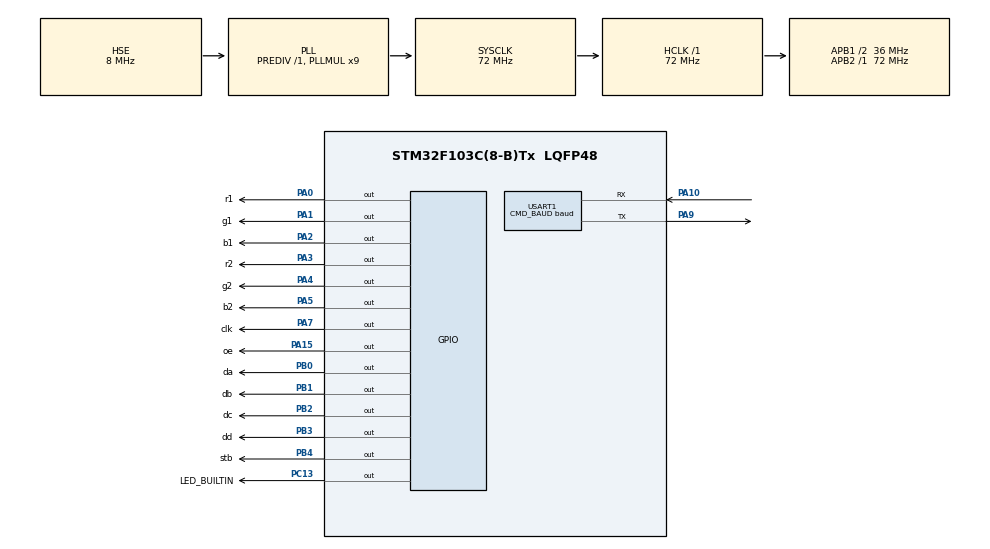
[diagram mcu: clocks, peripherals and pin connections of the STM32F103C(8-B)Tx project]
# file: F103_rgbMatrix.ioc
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Dma.Request0=TIM1_UP
Dma.TIM1_UP.0.Direction=DMA_MEMORY_TO_PERIPH
Dma.TIM1_UP.0.Instance=DMA1_Channel5
Dma.TIM1_UP.0.MemDataAlignment=DMA_MDATAALIGN_BYTE
Dma.TIM1_UP.0.MemInc=DMA_MINC_ENABLE
Dma.TIM1_UP.0.Mode=DMA_NORMAL
Dma.TIM1_UP.0.PeriphDataAlignment=DMA_PDATAALIGN_BYTE
Dma.TIM1_UP.0.PeriphInc=DMA_PINC_DISABLE
Dma.TIM1_UP.0.Priority=DMA_PRIORITY_HIGH
IWDG.Prescaler=IWDG_PRESCALER_64
IWDG.Reload=IWDG_1S
Mcu.Family=STM32F1
Mcu.Name=STM32F103C(8-B)Tx
Mcu.Package=LQFP48
Mcu.UserConstants=CLK_PSC,0;CLK_ARR,11;CLK_MAX_DUTY,(CLK_ARR + 1);OE_PSC,0;OE_ARR,17999;OE_MAX_DUTY,(OE_ARR + 1);IWDG_1S,625;CMD_BAUD,38400
NVIC.DMA1_Channel5_IRQn=true\:5\:0\:true\:false\:true\:false\:true
NVIC.PriorityGroup=NVIC_PRIORITYGROUP_4
NVIC.TIM2_IRQn=true\:6\:0\:true\:false\:true\:true\:true
NVIC.USART1_IRQn=true\:7\:0\:true\:false\:true\:true\:true
PA0-WKUP.GPIO_Label=r1
PA0-WKUP.GPIO_Speed=GPIO_SPEED_FREQ_HIGH
PA0-WKUP.Signal=GPIO_Output
PA1.GPIO_Label=g1
PA1.GPIO_Speed=GPIO_SPEED_FREQ_HIGH
PA1.Signal=GPIO_Output
PA10.Mode=Asynchronous
PA10.Signal=USART1_RX
PA13.Mode=Serial_Wire
PA13.Signal=SYS_JTMS-SWDIO
PA14.Mode=Serial_Wire
PA14.Signal=SYS_JTCK-SWCLK
PA15.GPIO_Label=oe
PA15.Signal=GPIO_Output
PA2.GPIO_Label=b1
PA2.GPIO_Speed=GPIO_SPEED_FREQ_HIGH
PA2.Signal=GPIO_Output
PA3.GPIO_Label=r2
PA3.GPIO_Speed=GPIO_SPEED_FREQ_HIGH
PA3.Signal=GPIO_Output
PA4.GPIO_Label=g2
PA4.GPIO_Speed=GPIO_SPEED_FREQ_HIGH
PA4.Signal=GPIO_Output
PA5.GPIO_Label=b2
PA5.GPIO_Speed=GPIO_SPEED_FREQ_HIGH
PA5.Signal=GPIO_Output
PA7.GPIO_Label=clk
PA7.GPIO_ModeDefaultOutputPP=GPIO_MODE_OUTPUT_PP
PA7.GPIO_PuPd=GPIO_NOPULL
PA7.GPIO_Speed=GPIO_SPEED_FREQ_HIGH
PA7.Signal=GPIO_Output
PA9.Mode=Asynchronous
PA9.Signal=USART1_TX
PB0.GPIO_Label=da
PB0.GPIO_Speed=GPIO_SPEED_FREQ_HIGH
PB0.Signal=GPIO_Output
PB1.GPIO_Label=db
PB1.GPIO_Speed=GPIO_SPEED_FREQ_HIGH
PB1.Signal=GPIO_Output
PB2.GPIO_Label=dc
PB2.GPIO_Speed=GPIO_SPEED_FREQ_HIGH
PB2.Signal=GPIO_Output
PB3.GPIO_Label=dd
PB3.GPIO_Speed=GPIO_SPEED_FREQ_HIGH
PB3.Signal=GPIO_Output
PB4.GPIO_Label=stb
PB4.GPIO_Speed=GPIO_SPEED_FREQ_HIGH
PB4.Signal=GPIO_Output
PC13-TAMPER-RTC.GPIO_Label=LED_BUILTIN
PC13-TAMPER-RTC.GPIO_Speed=GPIO_SPEED_FREQ_HIGH
PC13-TAMPER-RTC.PinState=GPIO_PIN_SET
PC13-TAMPER-RTC.Signal=GPIO_Output
PD0-OSC_IN.Mode=HSE-External-Oscillator
PD0-OSC_IN.Signal=RCC_OSC_IN
PD1-OSC_OUT.Mode=HSE-External-Oscillator
PD1-OSC_OUT.Signal=RCC_OSC_OUT
ProjectManager.HeapSize=0x200
ProjectManager.StackSize=0x400
ProjectManager.TargetToolchain=TrueSTUDIO
RCC.AHBFreq_Value=72000000
RCC.APB1CLKDivider=RCC_HCLK_DIV2
RCC.APB1Freq_Value=36000000
RCC.APB1TimFreq_Value=72000000
RCC.APB2Freq_Value=72000000
RCC.APB2TimFreq_Value=72000000
RCC.HCLKFreq_Value=72000000
RCC.PLLMUL=RCC_PLL_MUL9
RCC.PLLSourceVirtual=RCC_PLLSOURCE_HSE
RCC.SYSCLKFreq_VALUE=72000000
RCC.SYSCLKSource=RCC_SYSCLKSOURCE_PLLCLK
RCC.USBFreq_Value=48000000
RCC.USBPrescaler=RCC_USBCLKSOURCE_PLL_DIV1_5
TIM1.Period=CLK_ARR
TIM1.Prescaler=CLK_PSC
TIM2.Period=OE_ARR
TIM2.Prescaler=OE_PSC
TIM2.TIM_MasterOutputTrigger=TIM_TRGO_UPDATE
USART1.BaudRate=CMD_BAUD
USART1.Mode=MODE_RX
USART1.VirtualMode=VM_ASYNC
VP_IWDG_VS_IWDG.Mode=IWDG_Activate
VP_TIM1_VS_ClockSourceINT.Mode=Internal
VP_TIM2_VS_ClockSourceINT.Mode=Internal
board=custom

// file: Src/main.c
/**
 ******************************************************************************
 * @file           : main.c
 * @brief          : Main program body
 ******************************************************************************
 ** This notice applies to any and all portions of this file
 * that are not between comment pairs USER CODE BEGIN and
 * USER CODE END. Other portions of this file, whether
 * inserted by the user or by software development tools
 * are owned by their respective copyright owners.
 *
 * COPYRIGHT(c) 2019 STMicroelectronics
 *
 * Redistribution and use in source and binary forms, with or without modification,
 * are permitted provided that the following conditions are met:
 *   1. Redistributions of source code must retain the above copyright notice,
 *      this list of conditions and the following disclaimer.
 *   2. Redistributions in binary form must reproduce the above copyright notice,
 *      this list of conditions and the following disclaimer in the documentation
 *      and/or other materials provided with the distribution.
 *   3. Neither the name of STMicroelectronics nor the names of its contributors
 *      may be used to endorse or promote products derived from this software
 *      without specific prior written permission.
 *
 * THIS SOFTWARE IS PROVIDED BY THE COPYRIGHT HOLDERS AND CONTRIBUTORS "AS IS"
 * AND ANY EXPRESS OR IMPLIED WARRANTIES, INCLUDING, BUT NOT LIMITED TO, THE
 * IMPLIED WARRANTIES OF MERCHANTABILITY AND FITNESS FOR A PARTICULAR PURPOSE ARE
 * DISCLAIMED. IN NO EVENT SHALL THE COPYRIGHT HOLDER OR CONTRIBUTORS BE LIABLE
 * FOR ANY DIRECT, INDIRECT, INCIDENTAL, SPECIAL, EXEMPLARY, OR CONSEQUENTIAL
 * DAMAGES (INCLUDING, BUT NOT LIMITED TO, PROCUREMENT OF SUBSTITUTE GOODS OR
 * SERVICES; LOSS OF USE, DATA, OR PROFITS; OR BUSINESS INTERRUPTION) HOWEVER
 * CAUSED AND ON ANY THEORY OF LIABILITY, WHETHER IN CONTRACT, STRICT LIABILITY,
 * OR TORT (INCLUDING NEGLIGENCE OR OTHERWISE) ARISING IN ANY WAY OUT OF THE USE
 * OF THIS SOFTWARE, EVEN IF ADVISED OF THE POSSIBILITY OF SUCH DAMAGE.
 *
 ******************************************************************************
 */
#include "main.h"
#include "stm32f1xx_hal.h"

/* USER CODE BEGIN Includes */
#include "stm32f1xx_it.h"
#include <string.h>
#include <stdlib.h>
#include "config.h"
#include "matrix.h"
/* USER CODE END Includes */

IWDG_HandleTypeDef hiwdg;

TIM_HandleTypeDef htim1;
TIM_HandleTypeDef htim2;
DMA_HandleTypeDef hdma_tim1_up;

UART_HandleTypeDef huart1;

/* USER CODE BEGIN PV */
/* Private variables ---------------------------------------------------------*/
/* TODO */
#define DEBUG					0
#if DEBUG
#define RGB_PANEL_DEBUG			0
#endif	//if DEBUG

#define HW_VERSION				"v1.2.3"
#define SW_VERSION				"v1.5.2"
#define RUNNING_SPEED			25

#define UART_BUFSIZE			1024

#define CMD_CHAR_HEADER			'$'
#define CMD_CHAR_ENDLINE		'\n'
#define CMD_CHAR_SEPARATOR		','
#define CMD_CHAR_TERMINATOR		'*'

#define COMMAND_SHORT_BUFSIZE			16
#define COMMAND_LONG_BUFSIZE			128

typedef struct
{
	char buffer[UART_BUFSIZE];
	volatile uint16_t head;
	volatile uint16_t tail;
	uint16_t size;
} Ring_Buffer_t;

const char bangladesh_eng[COMMAND_SHORT_BUFSIZE] = "Bangladesh";
const char railways_eng[COMMAND_SHORT_BUFSIZE] = "Railway";  //updated 18Apr2019
const char bangladesh_bangla[COMMAND_SHORT_BUFSIZE] = { 18, 12, 64, 145, 12, 15, 129, 80 };  //updated edes 25des2018
const char railways_bangla[COMMAND_SHORT_BUFSIZE] = { 15, 19, 145, 75, 15, 53 };  //updated edes 25des2018

#if DISPLAY_OUTDOOR
const char to_in_bangla[COMMAND_SHORT_BUFSIZE] = { 11, 15, 58, 15, 107, 11 };  //updated edes 25des2018
const char to_in_eng[COMMAND_SHORT_BUFSIZE] = { ' ', 't', 'o', ' ' };
#endif	//if DISPLAY_OUTDOOR

#if DISPLAY_INDOOR
const char at_in_bangla[COMMAND_SHORT_BUFSIZE] =
{	15, 168, 80, 15, 38, 11};  //updated edes 31Okt2020
const char at_in_eng[COMMAND_SHORT_BUFSIZE] =
{	'A', 't', ' '};
const char to_in_bangla[COMMAND_SHORT_BUFSIZE] =
{	15, 58, 15, 107, 11};  //updated edes 25des2018
const char to_in_eng[COMMAND_SHORT_BUFSIZE] =
{	'T', 'o', ' '};
#endif	//if DISPLAY_INDOOR

//char uartBuffer[UART_BUFSIZE];
Ring_Buffer_t uartBuffer = { { 0 }, 0, 0, UART_BUFSIZE };
volatile ITStatus uart1RxReady = RESET;
volatile uint8_t swapBufferStart = 0;
volatile uint32_t activeFrameRowAddress = 0;
volatile uint32_t matrix_row = 0;
volatile uint32_t matrix_color = 0;
volatile FlagStatus buttonPress = RESET;
#if DEBUG
volatile uint32_t fps = 0;
#endif	//if DEBUG

uint32_t millis = 0;
const uint32_t DISCONNECTED_TIMEOUT = 10000;
const uint32_t DISCONNECTED_REFRESH_TIMEOUT = 5000;
const uint32_t DISPLAY_REFRESH_TIMEOUT = 30000;
int16_t xCoachLineEnd = 0;
int16_t xTrainIdLineEnd = 0;
const uint32_t ANIMATION_START_TIMEOUT = 1000;
const uint32_t ANIMATION_RUNNING_TIMEOUT = 35;

typedef enum
{
	STATION_ARRIVED = 0,
	STATION_TOWARD = 1,
	STATION_NEXT = 0,
	STATION_PREV = 1
} Station_State_e;

typedef struct
{
	char id[COMMAND_SHORT_BUFSIZE];
	char name[COMMAND_LONG_BUFSIZE];
} Train_Info_t;
typedef struct
{
	char name[COMMAND_LONG_BUFSIZE];
	Station_State_e state;
	char first[COMMAND_LONG_BUFSIZE];
	char end[COMMAND_LONG_BUFSIZE];
} Station_Info_t;

char textRecv[COMMAND_SHORT_BUFSIZE];

/**
 * @brief  Display Command Handle Structure definition
 */
typedef struct
{
	uint8_t language;
	Train_Info_t trainInfo;
	Station_Info_t stationInfo;
	char coachName[COMMAND_SHORT_BUFSIZE];
	FlagStatus updateAvailable;
} CMD_HandleTypeDef;

CMD_HandleTypeDef infoEng, infoBangla, infoDisplay;

/* USER CODE END PV */

void SystemClock_Config(void);
static void MX_GPIO_Init(void);
static void MX_DMA_Init(void);
static void MX_TIM1_Init(void);
static void MX_TIM2_Init(void);
static void MX_USART1_UART_Init(void);
static void MX_IWDG_Init(void);

/* USER CODE BEGIN PFP */
/* Private function prototypes -----------------------------------------------*/
/* TODO */
static uint8_t layoutConnected(uint8_t *lang);
static void layoutConnectedValid(uint8_t coach_len);
static void layoutDisconnected(uint8_t * lang);
static void layoutCoachName(uint8_t len);
static void layoutTrainID(int16_t xOffset);
static int16_t layoutTrainName(int16_t xOffset);
static int16_t layoutTrainRoute(int16_t xOffset);

static uint8_t char_to_byte(char c);
static uint8_t parseCommand();
static void parseBangla(CMD_HandleTypeDef *cmd);

static void startDmaTransfering();
static void dmaTransferCompleted(DMA_HandleTypeDef *hdma);
static void ring_buffer_write(Ring_Buffer_t *buffer, char c);
static HAL_StatusTypeDef ring_buffer_read(Ring_Buffer_t *buffer, char *c);
static HAL_StatusTypeDef ring_buffer_readString(Ring_Buffer_t *buffer, char *to, uint16_t size,
		char start, char end);

static void delayIwdg(uint32_t _delayTime);
/* USER CODE END PFP */

int main(void)
{
	/* USER CODE BEGIN 1 */
	char initDisplay[COMMAND_SHORT_BUFSIZE];
	/* USER CODE END 1 */

	/* MCU Configuration----------------------------------------------------------*/

	/* Reset of all peripherals, Initializes the Flash interface and the Systick. */
	HAL_Init();

	/* Configure the system clock */
	SystemClock_Config();

	/* Initialize all configured peripherals */
	MX_GPIO_Init();
	MX_DMA_Init();
	MX_TIM1_Init();
	MX_TIM2_Init();
	MX_USART1_UART_Init();
	MX_IWDG_Init();
	/* USER CODE BEGIN 2 */
	/* TODO */
	HAL_IWDG_Refresh(&hiwdg);
	/* init data */
	rgb_init();
	activeFrameRowAddress = rgb_get_buffer(0);

	/* enable tim1 dma */
	__HAL_TIM_ENABLE_DMA(&htim1, TIM_DMA_UPDATE);
	hdma_tim1_up.XferCpltCallback = dmaTransferCompleted;
	/* start timer 1 */
	HAL_TIM_Base_Start(&htim1);

	startDmaTransfering();

	__HAL_UART_ENABLE_IT(&huart1, UART_IT_RXNE);

	HAL_IWDG_Refresh(&hiwdg);

	sprintf(initDisplay, "Respati");
	rgb_print(0, 0, initDisplay, strlen(initDisplay), 0b1, 1);
	sprintf(initDisplay, "h:%s", HW_VERSION);
	rgb_print(0, 8, initDisplay, strlen(initDisplay), 0b1, 1);
	sprintf(initDisplay, "s:%s", SW_VERSION);
	rgb_print(0, 16, initDisplay, strlen(initDisplay), 0b1, 1);

	swapBufferStart = 1;
	delayIwdg(2000);

#if DEBUG==1
	uint32_t millis, fpsTimer = 1000;
	while (1)
	{
		HAL_IWDG_Refresh(&hiwdg);
		millis = HAL_GetTick();

		if (millis >= fpsTimer)
		{
			rgb_frame_clear();
			sprintf(initDisplay, "fps= %d", fps);
			rgb_print(0, 0, initDisplay, strlen(initDisplay), 0b1, 2);
			fps = 0;
			swapBufferStart = 1;

			fpsTimer = millis + 1000;
		}
	}
#endif	//if DEBUG==1

	/* USER CODE END 2 */

	/* Infinite loop */
	/* USER CODE BEGIN WHILE */
	uint8_t displayLang = 0;
	uint32_t disconnectTimer = 0;
	uint32_t disconnectRefreshTimer = 0;
	uint32_t displayRefreshTimer = 0;
	uint8_t layoutState = 0;
	uint8_t animationState = 0;
	uint32_t animationTimer = 0;
	int16_t xTrainNameOffset = 0;
	int16_t xTrainRouteOffset = 0;
	int16_t xTrainNameEnd = 0;
	int16_t xTrainRouteEnd = 0;
	uint8_t u8a;

	while (1)
	{

		/* USER CODE END WHILE */

		/* USER CODE BEGIN 3 */
		/* TODO */

		millis = HAL_GetTick();
		HAL_IWDG_Refresh(&hiwdg);

		if (parseCommand())
		{
			disconnectTimer = millis + DISCONNECTED_TIMEOUT;
			disconnectRefreshTimer = 0;
		}

		if (millis >= disconnectTimer)
		{
			if (disconnectRefreshTimer == 0)
			{
				rgb_frame_clear();
				swapBufferStart = 1;
				delayIwdg(500);
			}
			if (millis >= disconnectRefreshTimer)
			{
				disconnectRefreshTimer = millis + DISCONNECTED_REFRESH_TIMEOUT;
				memset(infoEng.coachName, 0, COMMAND_SHORT_BUFSIZE);
				memset(infoBangla.coachName, 0, COMMAND_SHORT_BUFSIZE);
				displayRefreshTimer = 0;
				animationState = 0;

				layoutDisconnected(&displayLang);
			}
		}
		else
		{
			if (millis >= displayRefreshTimer)
			{
				displayRefreshTimer = millis + DISPLAY_REFRESH_TIMEOUT;

				layoutState = layoutConnected(&displayLang);
				if (layoutState == 1)
					displayRefreshTimer = 0;
				else if (layoutState == 0)
					//change to disconnect display
					disconnectTimer = 0;
				else if (layoutState == 2)
				{
					animationState = 1;
					animationTimer = millis + ANIMATION_START_TIMEOUT;
					xTrainNameOffset = 0;
					xTrainRouteOffset = 0;
				}
			}

			if (animationState)
			{
				if (millis >= animationTimer && !swapBufferStart)
				{
					animationTimer = millis + ANIMATION_RUNNING_TIMEOUT;

					u8a = strlen(infoDisplay.coachName);
					rgb_frame_clear();

					layoutCoachName(u8a);
#if DISPLAY_OUTDOOR
					layoutTrainID(xTrainNameOffset);
					xTrainNameEnd = layoutTrainName(xTrainNameOffset);
					if (xTrainNameEnd >= MATRIX_MAX_WIDTH)
						xTrainNameOffset++;
					xTrainRouteEnd = layoutTrainRoute(xTrainRouteOffset);
					if (xTrainRouteEnd >= MATRIX_MAX_WIDTH)
						xTrainRouteOffset++;
#elif DISPLAY_INDOOR
					layoutTrainID(xTrainNameOffset);
					xTrainNameEnd = layoutTrainName(xTrainNameOffset);
					if (xTrainNameEnd >= MATRIX_MAX_WIDTH)
					xTrainNameOffset++;
					xTrainRouteEnd = layoutTrainRoute(xTrainRouteOffset);
					if (xTrainRouteEnd >= MATRIX_MAX_WIDTH)
					xTrainRouteOffset++;
#endif	//if DISPLAY_OUTDOOR

					if (xTrainNameEnd <= MATRIX_MAX_WIDTH && xTrainRouteEnd <= MATRIX_MAX_WIDTH)
					{
						animationState = 0;
						displayRefreshTimer = millis + 1000;
					}

					swapBufferStart = 1;
				}
			}
		}

	}
	/* USER CODE END 3 */

}

void SystemClock_Config(void)
{

	RCC_OscInitTypeDef RCC_OscInitStruct;
	RCC_ClkInitTypeDef RCC_ClkInitStruct;

	/**Initializes the CPU, AHB and APB busses clocks
	 */
	RCC_OscInitStruct.OscillatorType = RCC_OSCILLATORTYPE_LSI | RCC_OSCILLATORTYPE_HSE;
	RCC_OscInitStruct.HSEState = RCC_HSE_ON;
	RCC_OscInitStruct.HSEPredivValue = RCC_HSE_PREDIV_DIV1;
	RCC_OscInitStruct.HSIState = RCC_HSI_ON;
	RCC_OscInitStruct.LSIState = RCC_LSI_ON;
	RCC_OscInitStruct.PLL.PLLState = RCC_PLL_ON;
	RCC_OscInitStruct.PLL.PLLSource = RCC_PLLSOURCE_HSE;
	RCC_OscInitStruct.PLL.PLLMUL = RCC_PLL_MUL9;
	if (HAL_RCC_OscConfig(&RCC_OscInitStruct) != HAL_OK)
	{
		_Error_Handler(__FILE__, __LINE__);
	}

	/**Initializes the CPU, AHB and APB busses clocks
	 */
	RCC_ClkInitStruct.ClockType = RCC_CLOCKTYPE_HCLK | RCC_CLOCKTYPE_SYSCLK | RCC_CLOCKTYPE_PCLK1
			| RCC_CLOCKTYPE_PCLK2;
	RCC_ClkInitStruct.SYSCLKSource = RCC_SYSCLKSOURCE_PLLCLK;
	RCC_ClkInitStruct.AHBCLKDivider = RCC_SYSCLK_DIV1;
	RCC_ClkInitStruct.APB1CLKDivider = RCC_HCLK_DIV2;
	RCC_ClkInitStruct.APB2CLKDivider = RCC_HCLK_DIV1;

	if (HAL_RCC_ClockConfig(&RCC_ClkInitStruct, FLASH_LATENCY_2) != HAL_OK)
	{
		_Error_Handler(__FILE__, __LINE__);
	}

	/**Configure the Systick interrupt time
	 */
	HAL_SYSTICK_Config(HAL_RCC_GetHCLKFreq() / 1000);

	/**Configure the Systick
	 */
	HAL_SYSTICK_CLKSourceConfig(SYSTICK_CLKSOURCE_HCLK);

	/* SysTick_IRQn interrupt configuration */
	HAL_NVIC_SetPriority(SysTick_IRQn, 0, 0);
}

/* IWDG init function */
static void MX_IWDG_Init(void)
{

	hiwdg.Instance = IWDG;
	hiwdg.Init.Prescaler = IWDG_PRESCALER_64;
	hiwdg.Init.Reload = IWDG_1S;
	if (HAL_IWDG_Init(&hiwdg) != HAL_OK)
	{
		_Error_Handler(__FILE__, __LINE__);
	}

}

/* TIM1 init function */
static void MX_TIM1_Init(void)
{

	TIM_ClockConfigTypeDef sClockSourceConfig;
	TIM_MasterConfigTypeDef sMasterConfig;

	htim1.Instance = TIM1;
	htim1.Init.Prescaler = CLK_PSC;
	htim1.Init.CounterMode = TIM_COUNTERMODE_UP;
	htim1.Init.Period = CLK_ARR;
	htim1.Init.ClockDivision = TIM_CLOCKDIVISION_DIV1;
	htim1.Init.RepetitionCounter = 0;
	htim1.Init.AutoReloadPreload = TIM_AUTORELOAD_PRELOAD_DISABLE;
	if (HAL_TIM_Base_Init(&htim1) != HAL_OK)
	{
		_Error_Handler(__FILE__, __LINE__);
	}

	sClockSourceConfig.ClockSource = TIM_CLOCKSOURCE_INTERNAL;
	if (HAL_TIM_ConfigClockSource(&htim1, &sClockSourceConfig) != HAL_OK)
	{
		_Error_Handler(__FILE__, __LINE__);
	}

	sMasterConfig.MasterOutputTrigger = TIM_TRGO_RESET;
	sMasterConfig.MasterSlaveMode = TIM_MASTERSLAVEMODE_DISABLE;
	if (HAL_TIMEx_MasterConfigSynchronization(&htim1, &sMasterConfig) != HAL_OK)
	{
		_Error_Handler(__FILE__, __LINE__);
	}

}

/* TIM2 init function */
static void MX_TIM2_Init(void)
{

	TIM_ClockConfigTypeDef sClockSourceConfig;
	TIM_MasterConfigTypeDef sMasterConfig;

	htim2.Instance = TIM2;
	htim2.Init.Prescaler = OE_PSC;
	htim2.Init.CounterMode = TIM_COUNTERMODE_UP;
	htim2.Init.Period = OE_ARR;
	htim2.Init.ClockDivision = TIM_CLOCKDIVISION_DIV1;
	htim2.Init.AutoReloadPreload = TIM_AUTORELOAD_PRELOAD_DISABLE;
	if (HAL_TIM_Base_Init(&htim2) != HAL_OK)
	{
		_Error_Handler(__FILE__, __LINE__);
	}

	sClockSourceConfig.ClockSource = TIM_CLOCKSOURCE_INTERNAL;
	if (HAL_TIM_ConfigClockSource(&htim2, &sClockSourceConfig) != HAL_OK)
	{
		_Error_Handler(__FILE__, __LINE__);
	}

	sMasterConfig.MasterOutputTrigger = TIM_TRGO_UPDATE;
	sMasterConfig.MasterSlaveMode = TIM_MASTERSLAVEMODE_DISABLE;
	if (HAL_TIMEx_MasterConfigSynchronization(&htim2, &sMasterConfig) != HAL_OK)
	{
		_Error_Handler(__FILE__, __LINE__);
	}

}

/* USART1 init function */
static void MX_USART1_UART_Init(void)
{

	huart1.Instance = USART1;
	huart1.Init.BaudRate = CMD_BAUD;
	huart1.Init.WordLength = UART_WORDLENGTH_8B;
	huart1.Init.StopBits = UART_STOPBITS_1;
	huart1.Init.Parity = UART_PARITY_NONE;
	huart1.Init.Mode = UART_MODE_RX;
	huart1.Init.HwFlowCtl = UART_HWCONTROL_NONE;
	huart1.Init.OverSampling = UART_OVERSAMPLING_16;
	if (HAL_UART_Init(&huart1) != HAL_OK)
	{
		_Error_Handler(__FILE__, __LINE__);
	}

}

static void MX_DMA_Init(void)
{
	/* DMA controller clock enable */
	__HAL_RCC_DMA1_CLK_ENABLE()
	;

	/* DMA interrupt init */
	/* DMA1_Channel5_IRQn interrupt configuration */
	HAL_NVIC_SetPriority(DMA1_Channel5_IRQn, 5, 0);
	HAL_NVIC_EnableIRQ(DMA1_Channel5_IRQn);

}

/** Configure pins as
 * Analog
 * Input
 * Output
 * EVENT_OUT
 * EXTI
 * Free pins are configured automatically as Analog (this feature is enabled through
 * the Code Generation settings)
 */
static void MX_GPIO_Init(void)
{

	GPIO_InitTypeDef GPIO_InitStruct;

	/* GPIO Ports Clock Enable */
	__HAL_RCC_GPIOC_CLK_ENABLE()
	;
	__HAL_RCC_GPIOD_CLK_ENABLE()
	;
	__HAL_RCC_GPIOA_CLK_ENABLE()
	;
	__HAL_RCC_GPIOB_CLK_ENABLE()
	;

	/*Configure GPIO pin Output Level */
	HAL_GPIO_WritePin(LED_BUILTIN_GPIO_Port, LED_BUILTIN_Pin, GPIO_PIN_SET);

	/*Configure GPIO pin Output Level */
	HAL_GPIO_WritePin(GPIOA, r1_Pin | g1_Pin | b1_Pin | r2_Pin | g2_Pin | b2_Pin | clk_Pin | oe_Pin,
			GPIO_PIN_RESET);

	/*Configure GPIO pin Output Level */
	HAL_GPIO_WritePin(GPIOB, da_Pin | db_Pin | dc_Pin | dd_Pin | stb_Pin, GPIO_PIN_RESET);

	/*Configure GPIO pin : LED_BUILTIN_Pin */
	GPIO_InitStruct.Pin = LED_BUILTIN_Pin;
	GPIO_InitStruct.Mode = GPIO_MODE_OUTPUT_PP;
	GPIO_InitStruct.Pull = GPIO_NOPULL;
	GPIO_InitStruct.Speed = GPIO_SPEED_FREQ_HIGH;
	HAL_GPIO_Init(LED_BUILTIN_GPIO_Port, &GPIO_InitStruct);

	/*Configure GPIO pins : PC14 PC15 */
	GPIO_InitStruct.Pin = GPIO_PIN_14 | GPIO_PIN_15;
	GPIO_InitStruct.Mode = GPIO_MODE_ANALOG;
	HAL_GPIO_Init(GPIOC, &GPIO_InitStruct);

	/*Configure GPIO pins : r1_Pin g1_Pin b1_Pin r2_Pin
	 g2_Pin b2_Pin clk_Pin */
	GPIO_InitStruct.Pin = r1_Pin | g1_Pin | b1_Pin | r2_Pin | g2_Pin | b2_Pin | clk_Pin;
	GPIO_InitStruct.Mode = GPIO_MODE_OUTPUT_PP;
	GPIO_InitStruct.Pull = GPIO_NOPULL;
	GPIO_InitStruct.Speed = GPIO_SPEED_FREQ_HIGH;
	HAL_GPIO_Init(GPIOA, &GPIO_InitStruct);

	/*Configure GPIO pins : PA6 PA8 PA11 PA12 */
	GPIO_InitStruct.Pin = GPIO_PIN_6 | GPIO_PIN_8 | GPIO_PIN_11 | GPIO_PIN_12;
	GPIO_InitStruct.Mode = GPIO_MODE_ANALOG;
	HAL_GPIO_Init(GPIOA, &GPIO_InitStruct);

	/*Configure GPIO pins : da_Pin db_Pin dc_Pin dd_Pin
	 stb_Pin */
	GPIO_InitStruct.Pin = da_Pin | db_Pin | dc_Pin | dd_Pin | stb_Pin;
	GPIO_InitStruct.Mode = GPIO_MODE_OUTPUT_PP;
	GPIO_InitStruct.Pull = GPIO_NOPULL;
	GPIO_InitStruct.Speed = GPIO_SPEED_FREQ_HIGH;
	HAL_GPIO_Init(GPIOB, &GPIO_InitStruct);

	/*Configure GPIO pins : PB10 PB11 PB12 PB13
	 PB14 PB15 PB5 PB6
	 PB7 PB8 PB9 */
	GPIO_InitStruct.Pin = GPIO_PIN_10 | GPIO_PIN_11 | GPIO_PIN_12 | GPIO_PIN_13 | GPIO_PIN_14
			| GPIO_PIN_15 | GPIO_PIN_5 | GPIO_PIN_6 | GPIO_PIN_7 | GPIO_PIN_8 | GPIO_PIN_9;
	GPIO_InitStruct.Mode = GPIO_MODE_ANALOG;
	HAL_GPIO_Init(GPIOB, &GPIO_InitStruct);

	/*Configure GPIO pin : oe_Pin */
	GPIO_InitStruct.Pin = oe_Pin;
	GPIO_InitStruct.Mode = GPIO_MODE_OUTPUT_PP;
	GPIO_InitStruct.Pull = GPIO_NOPULL;
	GPIO_InitStruct.Speed = GPIO_SPEED_FREQ_LOW;
	HAL_GPIO_Init(oe_GPIO_Port, &GPIO_InitStruct);

}

/* USER CODE BEGIN 4 */
/* TODO Non-hardware functions*/

static void layoutCoachName(uint8_t len)
{

	if (len == 1)
	{
		rgb_write(0, 2, infoDisplay.coachName[0], 0b1, 4);
		xCoachLineEnd = 22;
	}
	else if (len == 2)
	{
		rgb_print(0, 4, infoDisplay.coachName, 2, 0b1, 3);
		xCoachLineEnd = 36;
	}
	else if (len == 3)
	{
		rgb_write(0, 0, infoDisplay.coachName[0], 0b1, 2);
		rgb_write(12, 0, infoDisplay.coachName[1], 0b1, 2);
		rgb_write(6, 16, infoDisplay.coachName[2], 0b1, 2);
		xCoachLineEnd = 26;
	}
	else if (len == 4)
	{
		//xtr1
		rgb_write(0, 0, infoDisplay.coachName[0], 0b1, 2);
		rgb_write(12, 0, infoDisplay.coachName[1], 0b1, 2);
		rgb_write(0, 16, infoDisplay.coachName[2], 0b1, 2);
		rgb_write(12, 16, infoDisplay.coachName[3], 0b1, 2);
//		rgb_write(24, 0, infoDisplay.coachName[2], 0b1, 2);
//		rgb_write(12, 16, infoDisplay.coachName[3], 0b1, 2);
//		xCoachLineEnd = 38;
		xCoachLineEnd = 26;
	}
	else if (len == 5)
	{
		//xtr01
		rgb_write(0, 0, infoDisplay.coachName[0], 0b1, 2);
		rgb_write(12, 0, infoDisplay.coachName[1], 0b1, 2);
		rgb_write(24, 0, infoDisplay.coachName[2], 0b1, 2);
		rgb_write(6, 16, infoDisplay.coachName[3], 0b1, 2);
		rgb_write(18, 16, infoDisplay.coachName[4], 0b1, 2);
		xCoachLineEnd = 38;
	}
	else if (len == 6)
	{
		rgb_write(0, 0, infoDisplay.coachName[0], 0b1, 2);
		rgb_write(12, 0, infoDisplay.coachName[1], 0b1, 2);
		rgb_write(24, 0, infoDisplay.coachName[2], 0b1, 2);
		rgb_write(0, 16, infoDisplay.coachName[3], 0b1, 2);
		rgb_write(12, 16, infoDisplay.coachName[4], 0b1, 2);
		rgb_write(24, 16, infoDisplay.coachName[5], 0b1, 2);
		xCoachLineEnd = 38;
	}
}

static void layoutTrainID(int16_t xOffset)
{
	uint8_t id_len = strlen(infoDisplay.trainInfo.id);
	int16_t xPos = xCoachLineEnd - xOffset;

	if (id_len)
	{
		if (infoDisplay.language == 0)
			xTrainIdLineEnd = rgb_print_constrain(xPos, 0, infoDisplay.trainInfo.id, id_len, 0b1, 2,
					xCoachLineEnd, MATRIX_MAX_WIDTH, 0, 16) + xCoachLineEnd;
		else
			xTrainIdLineEnd = rgb_bangla_print_constrain(xPos, 0, infoDisplay.trainInfo.id, id_len,
					0b1, 1, xCoachLineEnd, MATRIX_MAX_WIDTH, 0, 16) + xCoachLineEnd;

		xTrainIdLineEnd += 10;
	}
	else
		xTrainIdLineEnd = xCoachLineEnd;
}

static int16_t layoutTrainName(int16_t xOffset)
{
	uint16_t train_len = strlen(infoDisplay.trainInfo.name);
	int16_t xPos = xTrainIdLineEnd - xOffset;
	int16_t xEnd = MATRIX_MAX_WIDTH;

	if (train_len)
	{
		if (infoDisplay.language == 0)
		{
#if DISPLAY_OUTDOOR
			rgb_print_constrain(xPos, 0, infoDisplay.trainInfo.name, train_len, 0b1, 2,
					xCoachLineEnd, MATRIX_MAX_WIDTH, 0, 16);
#elif DISPLAY_INDOOR
			rgb_print_constrain(xPos, 0, infoDisplay.trainInfo.name, train_len, 0b1, 2,
					xCoachLineEnd, MATRIX_MAX_WIDTH, 0, 16);
#endif	//if DISPLAY_OUTDOOR

			xEnd = (train_len * (5 * 2 + 2)) + xPos;
		}
		else
		{
#if DISPLAY_OUTDOOR
			rgb_bangla_print_constrain(xPos, 0, infoDisplay.trainInfo.name, train_len, 0b1, 1,
					xCoachLineEnd, MATRIX_MAX_WIDTH, 0, 16);
#elif DISPLAY_INDOOR
			rgb_bangla_print_constrain(xPos, 0, infoDisplay.trainInfo.name, train_len, 0b1, 1,
					xCoachLineEnd, MATRIX_MAX_WIDTH, 0, 16);
#endif	//if DISPLAY_OUTDOOR

			xEnd = train_len * 10 + xPos + 2;
		}
	}

	return xEnd;
}

/* TODO outdoor & indoor handler*/
#if DISPLAY_OUTDOOR
static int16_t layoutTrainRoute(int16_t xOffset)
{
	int16_t xPos = xCoachLineEnd;
	int16_t x = 0, x1;
	int16_t xEnd = MATRIX_MAX_WIDTH;
	int16_t i16a, i16b;

	i16a = strlen(infoDisplay.stationInfo.first);
	i16b = strlen(infoDisplay.stationInfo.end);

	if (i16a > 0 && i16b > 0)
	{
		if (infoDisplay.language == 0)
		{
			x = xPos - xOffset;
			x1 = rgb_print_constrain(x, 16, infoDisplay.stationInfo.first, i16a, 0b1, 2,
					xCoachLineEnd,
					MATRIX_MAX_WIDTH, 16, MATRIX_MAX_HEIGHT);
			x += x1;

			x1 = rgb_print_constrain(x, 16, (char *) to_in_eng, strlen(to_in_eng), 0b1, 2,
					xCoachLineEnd,
					MATRIX_MAX_WIDTH, 16, MATRIX_MAX_HEIGHT);
			x += x1;

			x1 = rgb_print_constrain(x, 16, infoDisplay.stationInfo.end, i16b, 0b1, 2,
					xCoachLineEnd, MATRIX_MAX_WIDTH, 16, MATRIX_MAX_HEIGHT);
			x += x1;
		}
		else
		{
			x = xPos - xOffset;
			x1 = rgb_bangla_print_constrain(x, 16, infoDisplay.stationInfo.first,
					strlen(infoDisplay.stationInfo.first), 0b1, 1, xPos, MATRIX_MAX_WIDTH, 16,
					MATRIX_MAX_HEIGHT);

			x += x1;
			x1 = rgb_bangla_print_constrain(x, 16, (char*) to_in_bangla, strlen(to_in_bangla), 0b1,
					1, xPos, MATRIX_MAX_WIDTH, 16, MATRIX_MAX_HEIGHT);

			x += x1;
			x1 = rgb_bangla_print_constrain(x, 16, infoDisplay.stationInfo.end,
					strlen(infoDisplay.stationInfo.end), 0b1, 1, xPos, MATRIX_MAX_WIDTH, 16,
					MATRIX_MAX_HEIGHT);
			x += x1 + 2;
		}
		xEnd = x;
	}

	return xEnd;
}
#endif	//if DISPLAY_OUTDOOR

#if DISPLAY_INDOOR
static int16_t layoutTrainRoute(int16_t xOffset)
{
	int16_t x = 0, x1;
	int16_t xEnd = MATRIX_MAX_WIDTH;
	int16_t i16a;

	i16a = strlen(infoDisplay.stationInfo.name);

	if (i16a > 0)
	{
		if (infoDisplay.language == 0)
		{
			x = xCoachLineEnd - xOffset;
			if (infoDisplay.stationInfo.state == STATION_ARRIVED)
			x1 = rgb_print_constrain(x, 16, (char*) at_in_eng, strlen(at_in_eng), 0b1, 2,
					xCoachLineEnd, MATRIX_MAX_WIDTH, 16, MATRIX_MAX_HEIGHT);
			else
			x1 = rgb_print_constrain(x, 16, (char*) to_in_eng, strlen(to_in_eng), 0b1, 2,
					xCoachLineEnd, MATRIX_MAX_WIDTH, 16, MATRIX_MAX_HEIGHT);
			x += x1;
			x1 = rgb_print_constrain(x, 16, infoDisplay.stationInfo.name,
					strlen(infoDisplay.stationInfo.name), 0b1, 2, xCoachLineEnd, MATRIX_MAX_WIDTH,
					16, MATRIX_MAX_HEIGHT);

			x += x1;
		}
		else
		{
			x = xCoachLineEnd - xOffset;
			if (infoDisplay.stationInfo.state == STATION_ARRIVED)
			x1 = rgb_bangla_print_constrain(x, 16, (char*) at_in_bangla, strlen(at_in_bangla),
					0b1, 1, xCoachLineEnd, MATRIX_MAX_WIDTH, 16, MATRIX_MAX_HEIGHT);
			else
			x1 = rgb_bangla_print_constrain(x, 16, (char*) to_in_bangla, strlen(to_in_bangla),
					0b1, 1, xCoachLineEnd, MATRIX_MAX_WIDTH, 16, MATRIX_MAX_HEIGHT);
			x += x1;
			x1 = rgb_bangla_print_constrain(x, 16, infoDisplay.stationInfo.name,
					strlen(infoDisplay.stationInfo.name), 0b1, 1, xCoachLineEnd, MATRIX_MAX_WIDTH,
					16, MATRIX_MAX_HEIGHT);

			x += x1 + 2;
		}
		xEnd = x;
	}

	return xEnd;
}
#endif	//if DISPLAY_INDOOR

static void layoutConnectedValid(uint8_t coach_len)
{
	rgb_frame_clear();

	layoutCoachName(coach_len);
	layoutTrainID(0);
	layoutTrainName(0);
	layoutTrainRoute(0);

	swapBufferStart = 1;
}

static uint8_t layoutConnected(uint8_t *lang)
{
	uint8_t ret = 0;
	uint8_t u8a = 0, u8b = 0;
	uint8_t displayLang = *lang;

	if (displayLang)
	{
		infoDisplay = infoBangla;
		*lang = 0;
	}
	else
	{
		infoDisplay = infoEng;
		*lang = 1;
	}

	u8a = strlen(infoDisplay.coachName);
	if (!u8a)
	{
		if (displayLang == 0)
			u8b = strlen(infoBangla.coachName);
		else
			u8b = strlen(infoEng.coachName);

		if (!u8b)
			return 0;
		else
			return 1;
	}
	else
	{
		layoutConnectedValid(u8a);
		return 2;
	}

	return ret;
}

static void layoutDisconnected(uint8_t * lang)
{
	uint8_t displayLang = *lang;
	int16_t xPos = 0;

	rgb_frame_clear();
	if (displayLang)
	{
		/* english */
#if DISPLAY_OUTDOOR
		xPos = 36;
#endif	//if DISPLAY_OUTDOOR
#if DISPLAY_INDOOR
		xPos = 4;
#endif	//if DISPLAY_INDOOR

		rgb_print(xPos, 0, (char *) bangladesh_eng, strlen(bangladesh_eng), 0b1, 2);
		rgb_print(xPos + 16, 16, (char *) railways_eng, strlen(railways_eng), 0b1, 2);

		*lang = 0;
	}
	else
	{
		/* bangla */
#if DISPLAY_OUTDOOR
		xPos = 56;
#endif	//if DISPLAY_OUTDOOR
#if DISPLAY_INDOOR
		xPos = 24;
#endif	//if DISPLAY_INDOOR

		rgb_bangla_print(xPos, 0, (char *) bangladesh_bangla, strlen(bangladesh_bangla), 0b1, 1);
		rgb_bangla_print(xPos + 10, 16, (char *) railways_bangla, strlen(railways_bangla), 0b1, 1);

		*lang = 1;
	}
	swapBufferStart = 1;
}

static uint8_t char_to_byte(char c)
{
	uint8_t ret = 0;

	if (c >= '0' && c <= '9')
		ret = c - '0';
	else if (c >= 'a' && c <= 'f')
		ret = c - 'a' + 10;
	else if (c >= 'A' && c <= 'F')
		ret = c - 'A' + 10;

	return ret;
}

static uint8_t parseCommand()
{
	uint8_t ret = 0;
	char cmdIn[UART_BUFSIZE];
	char buf[COMMAND_SHORT_BUFSIZE];
	uint8_t crcVal = 0, crcCalc = 0;
	uint16_t cmdIn_length = 0;
	uint16_t cmdCounter = 0;
	char * s;
	uint16_t awal = 0;
	CMD_HandleTypeDef cmdTem;
	int i;

	if (uart1RxReady == SET)
	{
		if (ring_buffer_readString(&uartBuffer, cmdIn, UART_BUFSIZE, CMD_CHAR_HEADER,
		CMD_CHAR_ENDLINE) == HAL_OK)
		{
			LED_BUILTIN_GPIO_Port->ODR ^= LED_BUILTIN_Pin;

			/*
			 * start parsing data
			 *
			 * $[counter],[trainID],[trainName],[stationName],[stationState],
			 * [station first],[station end],[coachName]*[CRC]\n
			 *
			 */
			cmdIn_length = strlen(cmdIn);
			for ( i = 1; i < cmdIn_length; i++ )
			{
				if (cmdIn[i] == CMD_CHAR_TERMINATOR)
				{
					awal = i;
					break;
				}
				else
					crcCalc ^= (uint8_t) cmdIn[i];
			}
			crcVal = char_to_byte(cmdIn[awal + 1]) << 4;
			crcVal |= char_to_byte(cmdIn[awal + 2]);
			/* valid CRC */
			if (crcCalc == crcVal)
			{
				i = 0;
				/* counter */
				awal = i + 1;
				memset(buf, 0, COMMAND_SHORT_BUFSIZE);
				s = buf;
				for ( i = awal; i < cmdIn_length; i++ )
				{
					if (cmdIn[i] == CMD_CHAR_SEPARATOR)
						break;
					else
						*s++ = cmdIn[i];
				}
				cmdCounter = atoi(buf);
				cmdTem.language = cmdCounter % 2;

				/* trainID */
				awal = i + 1;
				memset(cmdTem.trainInfo.id, 0, COMMAND_SHORT_BUFSIZE);
				s = cmdTem.trainInfo.id;
				for ( i = awal; i < cmdIn_length; i++ )
				{
					if (cmdIn[i] == CMD_CHAR_SEPARATOR)
						break;
					else
						*s++ = cmdIn[i];
				}

				/* trainName */
				awal = i + 1;
				memset(cmdTem.trainInfo.name, 0, COMMAND_LONG_BUFSIZE);
				s = cmdTem.trainInfo.name;
				for ( i = awal; i < cmdIn_length; i++ )
				{
					if (cmdIn[i] == CMD_CHAR_SEPARATOR)
						break;
					else
						*s++ = cmdIn[i];
				}

				/* stationName */
				awal = i + 1;
				memset(cmdTem.stationInfo.name, 0, COMMAND_LONG_BUFSIZE);
				s = cmdTem.stationInfo.name;
				for ( i = awal; i < cmdIn_length; i++ )
				{
					if (cmdIn[i] == CMD_CHAR_SEPARATOR)
						break;
					else
						*s++ = cmdIn[i];
				}
				/* station state */
				awal = i + 1;

				if (cmdIn[awal] == '0')
					cmdTem.stationInfo.state = STATION_ARRIVED;
				else if (cmdIn[awal] == '1')
					cmdTem.stationInfo.state = STATION_TOWARD;

				i = awal + 1;

				/* station first */
				awal = i + 1;
				memset(cmdTem.stationInfo.first, 0, COMMAND_LONG_BUFSIZE);
				s = cmdTem.stationInfo.first;
				for ( i = awal; i < cmdIn_length; i++ )
				{
					if (cmdIn[i] == CMD_CHAR_SEPARATOR)
						break;
					else
						*s++ = cmdIn[i];
				}
				/* station end */
				awal = i + 1;
				memset(cmdTem.stationInfo.end, 0, COMMAND_LONG_BUFSIZE);
				s = cmdTem.stationInfo.end;
				for ( i = awal; i < cmdIn_length; i++ )
				{
					if (cmdIn[i] == CMD_CHAR_SEPARATOR)
						break;
					else
						*s++ = cmdIn[i];
				}
				/* coachName */
				awal = i + 1;
				memset(cmdTem.coachName, 0, COMMAND_SHORT_BUFSIZE);
				s = cmdTem.coachName;
				for ( i = awal; i < cmdIn_length; i++ )
				{
					if (cmdIn[i] == CMD_CHAR_TERMINATOR)
						break;
					else
						*s++ = cmdIn[i];
				}

				cmdTem.updateAvailable = SET;
				if (cmdCounter % 2 == 1)
				{
					parseBangla(&cmdTem);
					infoBangla = cmdTem;
				}
				else
				{
					infoEng = cmdTem;
				}

				ret = 1;
			}
		}
		uart1RxReady = RESET;
	}

	return ret;
}

static void parseStringBangla(char *str, uint16_t size)
{
	char lbuf[COMMAND_LONG_BUFSIZE];
	uint16_t len = 0;
	uint16_t indexChar = 0;
	uint16_t indexStr = 0;
	char buf[COMMAND_SHORT_BUFSIZE];
	char *tmp;
	uint8_t u8a, u8b;

	tmp = str;
	len = strlen(str);

	memset(lbuf, 0, COMMAND_LONG_BUFSIZE);
	memset(buf, 0, COMMAND_SHORT_BUFSIZE);
	indexChar = 0;
	for ( int i = 0; i < len; i++ )
	{
		if (*(tmp + i) == ':' || i == len - 1)
		{
			if (i == len - 1)
				buf[indexChar++] = *(tmp + i);

			u8a = strlen(buf);
			if (u8a > 0)
			{
				u8b = 0;
				if (u8a > 2)
				{
					u8b = char_to_byte(buf[0]) * 100;
					u8b += char_to_byte(buf[1]) * 10;
					u8b += char_to_byte(buf[2]);
				}
				else if (u8a > 1)
				{
					u8b = char_to_byte(buf[0]) * 10;
					u8b += char_to_byte(buf[1]);
				}
				else
					u8b = char_to_byte(buf[0]);
				lbuf[indexStr++] = u8b;
			}
			memset(buf, 0, COMMAND_SHORT_BUFSIZE);
			indexChar = 0;
		}
		else
			buf[indexChar++] = *(tmp + i);
	}

	memcpy(str, lbuf, size);
}

static void parseBangla(CMD_HandleTypeDef *cmd)
{
	parseStringBangla(cmd->trainInfo.id, COMMAND_SHORT_BUFSIZE);
	parseStringBangla(cmd->trainInfo.name, COMMAND_LONG_BUFSIZE);
	parseStringBangla(cmd->stationInfo.name, COMMAND_LONG_BUFSIZE);
	parseStringBangla(cmd->stationInfo.first, COMMAND_LONG_BUFSIZE);
	parseStringBangla(cmd->stationInfo.end, COMMAND_LONG_BUFSIZE);
}

/* TODO */

static void startDmaTransfering()
{
	HAL_DMA_Start_IT(&hdma_tim1_up, activeFrameRowAddress, (uint32_t) &DATA_GPIO->ODR, FRAME_SIZE);
}
static void dmaTransferCompleted(DMA_HandleTypeDef *hdma)
{
	/* clear clk & data */
	DATA_GPIO->BSRR = DATA_BSRR_CLEAR;

	/* set oe & stb high */
	oe_GPIO_Port->BSRR = oe_Pin;
	stb_GPIO_Port->BSRR = stb_Pin;
	CONTROL_GPIO->ODR = (matrix_row << CONTROL_SHIFTER);
	/* add 3 clk to enable STB/LAT effect */
	clk_GPIO_Port->BSRR = clk_Pin;
	clk_GPIO_Port->BSRR = DATA_BSRR_CLK_CLEAR;
	clk_GPIO_Port->BSRR = clk_Pin;
	clk_GPIO_Port->BSRR = DATA_BSRR_CLK_CLEAR;
	clk_GPIO_Port->BSRR = clk_Pin;
	clk_GPIO_Port->BSRR = DATA_BSRR_CLK_CLEAR;

	/* set oe & stb LOW */
	stb_GPIO_Port->BSRR = CONTROL_BSRR_STB_CLEAR;
	oe_GPIO_Port->BSRR = DATA_BSRR_OE_CLEAR;

	/* update matrix row */
	if (++matrix_row >= MATRIX_SCANROW)
	{
		matrix_row = 0;
		if (swapBufferStart)
		{
			rgb_swap_buffer();
			swapBufferStart = 0;
		}

#if DEBUG
		fps++;
#endif	//if DEBUG

	}
	activeFrameRowAddress = rgb_get_buffer(matrix_row);

	/* add delay to display */
	/* enable tim2 */
	htim2.Instance->CNT = 0;
	HAL_TIM_Base_Start_IT(&htim2);

}

void HAL_TIM_PeriodElapsedCallback(TIM_HandleTypeDef *htim)
{
	HAL_TIM_Base_Stop_IT(&htim2);
	startDmaTransfering();
}

static void ring_buffer_write(Ring_Buffer_t *buffer, char c)
{
	uint16_t i = (buffer->head + 1) % buffer->size;

	if (i != buffer->tail)
	{
		buffer->buffer[buffer->head] = c;
		buffer->head = i;
	}
}

static HAL_StatusTypeDef ring_buffer_read(Ring_Buffer_t *buffer, char *c)
{
	if (buffer->head != buffer->tail)
	{
		char recvByte = buffer->buffer[buffer->tail];
		buffer->tail = (buffer->tail + 1) % buffer->size;

		*c = recvByte;

		return HAL_OK;
	}
	return HAL_ERROR;
}

static HAL_StatusTypeDef ring_buffer_readString(Ring_Buffer_t *buffer, char *to, uint16_t size,
		char start, char end)
{
	char c;
	char * sendTo;
	uint16_t index = 0;
	FlagStatus startSaveBuffer = RESET;

	memset(to, 0, size);
	sendTo = to;
	while (buffer->head != buffer->tail)
	{
		ring_buffer_read(buffer, &c);
		if (c == start && startSaveBuffer == RESET)
			startSaveBuffer = SET;

		if (startSaveBuffer == SET)
		{
			*(sendTo + index) = c;
			if (c == end)
				break;

			if (++index >= size)
			{
				memset(to, 0, size);
				return HAL_ERROR;
			}
		}
	}
	return HAL_OK;
}

void usart1_callback_IT()
{
	uint32_t isrflags = READ_REG(huart1.Instance->SR);
	char c;

	/* RXNE handler */
	if ((isrflags & USART_SR_RXNE) != RESET)
	{
		c = (char) (huart1.Instance->DR & (uint8_t) 0x00FF);
		ring_buffer_write(&uartBuffer, c);
		if (c == CMD_CHAR_ENDLINE)
			uart1RxReady = SET;
	}

	/* ------------------------------------------------------------ */
	/* Other USART1 interrupts handler can go here ...             */
}

static void delayIwdg(uint32_t _delayTime)
{
	const uint32_t iwdg_reset_time = 100;

	HAL_IWDG_Refresh(&hiwdg);
	if (_delayTime <= iwdg_reset_time)
		HAL_Delay(_delayTime);
	else
	{
		while (_delayTime > iwdg_reset_time)
		{
			HAL_Delay(iwdg_reset_time);
			HAL_IWDG_Refresh(&hiwdg);
			_delayTime -= iwdg_reset_time;
		}
		HAL_Delay(_delayTime);
	}
	HAL_IWDG_Refresh(&hiwdg);
}

/* TODO */
/* USER CODE END 4 */

void _Error_Handler(char *file, int line)
{
	while (1)
	{
	}
}

/************************ (C) COPYRIGHT STMicroelectronics *****END OF FILE****/
